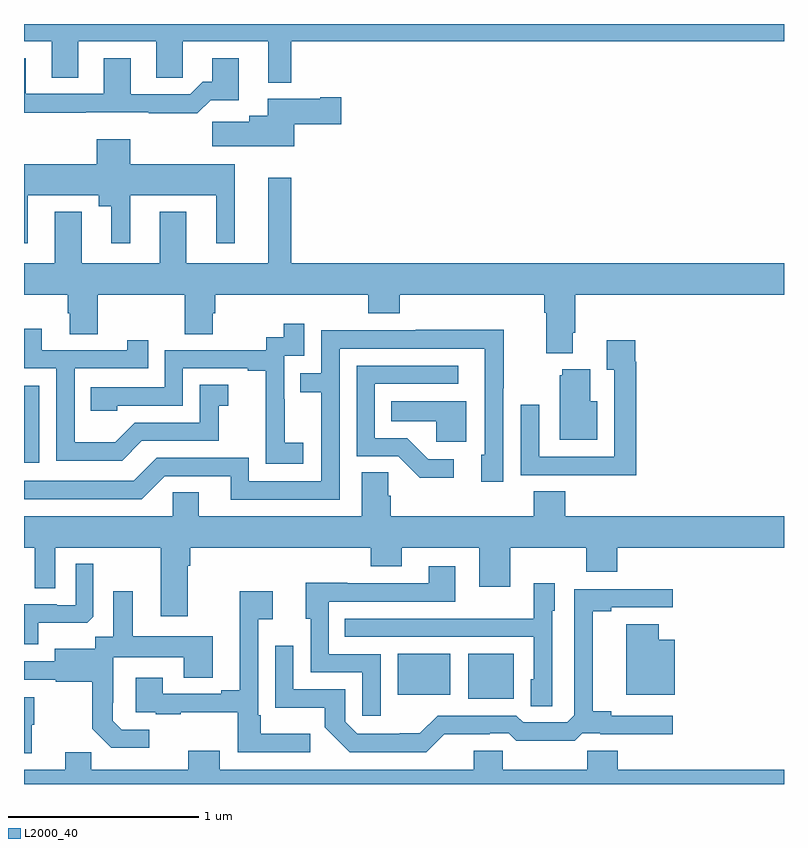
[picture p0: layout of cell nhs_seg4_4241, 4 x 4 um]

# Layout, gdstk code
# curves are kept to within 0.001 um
import gdstk
lib = gdstk.Library(unit=1e-6, precision=1e-09)
def R(c, l, rs):  # rectangles x0, y0, x1, y1
    for r in rs: c.add(gdstk.rectangle(r[:2], r[2:], *l))
def P(c, l, *ps):  # polygons
    for p in ps: c.add(gdstk.Polygon(p, *l))
L2000_40 = (2000, 40)

nhs_seg4_4241 = lib.new_cell('nhs_seg4_4241')
R(nhs_seg4_4241, L2000_40, [(339.338,805.349,339.577,805.585), (338.966,805.37,339.244,805.585), (337,806.592,337.08,806.997)])
P(nhs_seg4_4241, L2000_40, [(338.407,808.808),(341,808.808),(341,808.9),(337,808.9),(337,808.808),(337.145,808.808),(337.145,808.618),(337.285,808.618),(337.285,808.808),(337.697,808.808),(337.697,808.618),(337.836,808.618),(337.836,808.808),(338.285,808.808),(338.285,808.592),(338.407,808.592)],
  [(337.982,808.499),(338.131,808.499),(338.131,808.72),(337.991,808.72),(337.991,808.597),(337.942,808.597),(337.875,808.53),(337.561,808.53),(337.561,808.72),(337.421,808.72),(337.421,808.533),(337.009,808.533),(337.009,808.72),(337,808.72),(337,808.432),(337.325,808.432),(337.325,808.436),(337.657,808.436),(337.657,808.43),(337.913,808.43)],
  [(338.422,808.373),(338.671,808.373),(338.671,808.515),(338.558,808.515),(338.558,808.507),(338.282,808.507),(338.282,808.417),(338.186,808.417),(338.186,808.385),(337.992,808.385),(337.992,808.256),(338.422,808.256)],
  [(337.021,807.998),(337.394,807.998),(337.394,807.941),(337.46,807.941),(337.46,807.747),(337.558,807.747),(337.558,807.998),(338.012,807.998),(338.012,807.747),(338.11,807.747),(338.11,808.162),(337.56,808.162),(337.56,808.294),(337.382,808.294),(337.382,808.162),(337,808.162),(337,807.747),(337.021,807.747)],
  [(339.889,807.274),(339.902,807.274),(339.902,807.476),(341,807.476),(341,807.64),(338.407,807.64),(338.407,808.09),(338.285,808.09),(338.285,807.64),(337.855,807.64),(337.855,807.913),(337.715,807.913),(337.715,807.64),(337.303,807.64),(337.303,807.913),(337.163,807.913),(337.163,807.64),(337,807.64),(337,807.476),(337.229,807.476),(337.229,807.378),(337.241,807.378),(337.241,807.268),(337.389,807.268),(337.389,807.476),(337.846,807.476),(337.846,807.268),(337.993,807.268),(337.993,807.378),(338.006,807.378),(338.006,807.476),(338.813,807.476),(338.813,807.377),(338.978,807.377),(338.978,807.476),(339.737,807.476),(339.737,807.38),(339.749,807.38),(339.749,807.167),(339.889,807.167)],
  [(338.47,806.695),(338.372,806.695),(338.372,806.924),(338.37,806.924),(338.37,807.153),(338.475,807.153),(338.475,807.322),(338.367,807.322),(338.367,807.252),(338.274,807.252),(338.274,807.183),(337.74,807.183),(337.74,806.988),(337.351,806.988),(337.351,806.865),(337.491,806.865),(337.491,806.892),(337.836,806.892),(337.836,807.087),(338.177,807.087),(338.177,807.075),(338.273,807.075),(338.273,806.791),(338.272,806.791),(338.272,806.585),(338.47,806.585)],
  [(337.621,806.706),(338.025,806.706),(338.025,806.891),(338.074,806.891),(338.074,807.001),(337.926,807.001),(337.926,806.802),(337.584,806.802),(337.48,806.698),(337.266,806.698),(337.266,807.087),(337.655,807.087),(337.655,807.235),(337.544,807.235),(337.544,807.183),(337.093,807.183),(337.093,807.295),(337,807.295),(337,807.087),(337.17,807.087),(337.17,806.601),(337.516,806.601)],
  [(338.661,807.192),(339.425,807.192),(339.426,806.634),(339.407,806.634),(339.407,806.49),(339.522,806.49),(339.522,806.983),(339.525,806.983),(339.525,807.29),(339.061,807.29),(339.061,807.288),(338.565,807.288),(338.565,807.063),(338.455,807.063),(338.455,806.962),(338.565,806.962),(338.565,806.493),(338.184,806.493),(338.184,806.616),(337.698,806.616),(337.578,806.496),(337,806.496),(337,806.4),(337.62,806.4),(337.74,806.52),(338.087,806.52),(338.087,806.397),(338.661,806.397)],
  [(340.223,807.122),(340.216,807.122),(340.216,807.235),(340.067,807.235),(340.067,807.079),(340.107,807.079),(340.107,806.622),(339.711,806.622),(339.711,806.896),(339.615,806.896),(339.615,806.526),(339.931,806.526),(339.931,806.525),(340.223,806.525)],
  [(339.262,806.61),(339.127,806.61),(339.016,806.721),(338.847,806.721),(338.847,807.006),(339.286,807.006),(339.286,807.102),(338.751,807.102),(338.751,806.625),(338.97,806.625),(339.083,806.513),(339.262,806.513)],
  [(340.018,806.914),(339.979,806.914),(339.979,807.082),(339.833,807.082),(339.833,807.051),(339.821,807.051),(339.821,806.711),(340.018,806.711)],
  [(339.328,806.914),(338.932,806.914),(338.932,806.81),(339.171,806.81),(339.171,806.702),(339.328,806.702)],
  [(337.861,806.048),(337.874,806.048),(337.874,806.144),(338.825,806.144),(338.825,806.045),(338.989,806.045),(338.989,806.144),(339.395,806.144),(339.395,805.938),(339.559,805.938),(339.559,806.144),(339.959,806.144),(339.959,806.016),(340.123,806.016),(340.123,806.144),(341,806.144),(341,806.308),(339.848,806.308),(339.848,806.441),(339.683,806.441),(339.683,806.308),(338.93,806.308),(338.93,806.417),(338.916,806.417),(338.916,806.54),(338.777,806.54),(338.777,806.308),(337.921,806.308),(337.921,806.435),(337.782,806.435),(337.782,806.308),(337,806.308),(337,806.144),(337.056,806.144),(337.056,805.93),(337.164,805.93),(337.164,806.144),(337.721,806.144),(337.721,805.782),(337.861,805.782)],
  [(337.075,805.748),(337.333,805.748),(337.365,805.779),(337.365,806.059),(337.272,806.059),(337.272,805.842),(337.172,805.842),(337.172,805.845),(337,805.845),(337,805.635),(337.075,805.635)],
  [(338.877,805.584),(338.604,805.584),(338.604,805.86),(339.271,805.86),(339.271,806.047),(339.131,806.047),(339.131,805.956),(338.701,805.956),(338.701,805.958),(338.483,805.958),(338.483,805.77),(338.508,805.77),(338.508,805.488),(338.781,805.488),(338.781,805.26),(338.877,805.26)],
  [(339.78,805.812),(339.793,805.812),(339.793,805.957),(339.684,805.957),(339.684,805.771),(339.367,805.771),(339.367,805.77),(338.689,805.77),(338.689,805.674),(339.684,805.674),(339.684,805.452),(339.668,805.452),(339.668,805.309),(339.78,805.309)],
  [(339.212,805.163),(339.452,805.163),(339.452,805.167),(339.552,805.167),(339.592,805.128),(339.899,805.128),(339.939,805.167),(340.033,805.167),(340.033,805.163),(340.414,805.163),(340.414,805.26),(340.09,805.26),(340.09,805.283),(339.994,805.283),(339.994,805.81),(340.09,805.81),(340.09,805.83),(340.414,805.83),(340.414,805.926),(339.897,805.926),(339.897,805.263),(339.858,805.224),(339.627,805.224),(339.591,805.26),(339.177,805.26),(339.083,805.166),(338.978,805.166),(338.978,805.164),(338.754,805.164),(338.691,805.227),(338.691,805.398),(338.418,805.398),(338.418,805.627),(338.322,805.627),(338.322,805.301),(338.584,805.301),(338.584,805.199),(338.714,805.068),(339.117,805.068)],
  [(337.66,805.185),(337.515,805.185),(337.468,805.232),(337.468,805.327),(337.47,805.327),(337.47,805.568),(337.841,805.568),(337.841,805.459),(337.993,805.459),(337.993,805.678),(337.573,805.678),(337.573,805.915),(337.469,805.915),(337.469,805.676),(337.374,805.676),(337.374,805.612),(337.163,805.612),(337.163,805.545),(337,805.545),(337,805.449),(337.167,805.449),(337.167,805.437),(337.359,805.437),(337.359,805.191),(337.459,805.091),(337.66,805.091)],
  [(338.506,805.165),(338.245,805.165),(338.245,805.261),(338.232,805.261),(338.232,805.766),(338.308,805.766),(338.308,805.915),(338.135,805.915),(338.135,805.393),(338.039,805.393),(338.039,805.374),(337.729,805.374),(337.729,805.459),(337.589,805.459),(337.589,805.278),(337.693,805.278),(337.693,805.266),(337.825,805.266),(337.825,805.277),(338.124,805.277),(338.124,805.068),(338.506,805.068)],
  [(340.426,805.66),(340.34,805.66),(340.34,805.741),(340.169,805.741),(340.169,805.37),(340.426,805.37)],
  [(337.042,805.212),(337.054,805.212),(337.054,805.356),(337,805.356),(337,805.061),(337.042,805.061)],
  [(341,804.976),(340.124,804.976),(340.124,805.074),(339.964,805.074),(339.964,804.976),(339.519,804.976),(339.519,805.074),(339.368,805.074),(339.368,804.976),(338.029,804.976),(338.029,805.075),(337.865,805.075),(337.865,804.976),(337.355,804.976),(337.355,805.067),(337.217,805.067),(337.217,804.976),(337,804.976),(337,804.9),(341,804.9)])

lib.write_gds('nhs_seg4_4241.gds')
